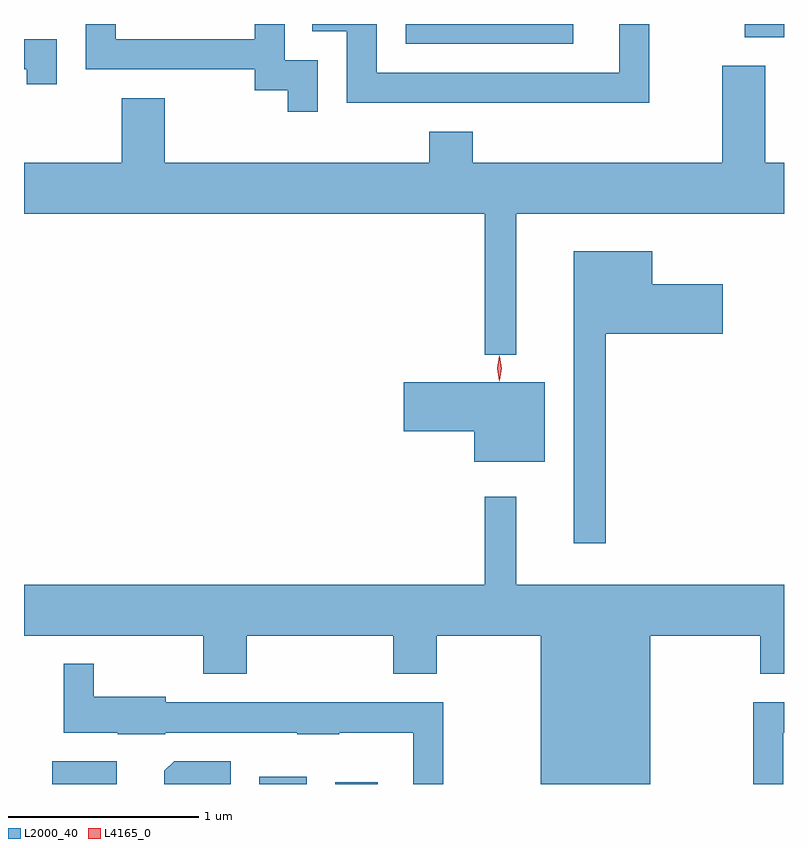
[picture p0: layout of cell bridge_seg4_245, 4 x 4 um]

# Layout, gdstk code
import gdstk
lib = gdstk.Library(unit=1e-6, precision=1e-09)
def R(c, l, rs):  # rectangles x0, y0, x1, y1
    for r in rs: c.add(gdstk.rectangle(r[:2], r[2:], *l))
def P(c, l, *ps):  # polygons
    for p in ps: c.add(gdstk.Polygon(p, *l))
L2000_40 = (2000, 40)
L4165_0 = (4165, 0)

bridge_seg4_245 = lib.new_cell('bridge_seg4_245')
R(bridge_seg4_245, L2000_40, [(740.326,1378.315,740.664,1378.434), (741.416,1378.315,741.664,1378.354), (741.816,1378.315,742.039,1378.324), (742.186,1382.211,743.068,1382.315), (743.971,1382.246,744.177,1382.315)])
P(bridge_seg4_245, L2000_40, [(741.724,1382.124),(741.549,1382.124),(741.549,1382.315),(741.391,1382.315),(741.391,1382.234),(740.659,1382.234),(740.659,1382.315),(740.501,1382.315),(740.501,1382.076),(741.391,1382.076),(741.391,1381.966),(741.566,1381.966),(741.566,1381.853),(741.724,1381.853)],
  [(743.469,1382.315),(743.311,1382.315),(743.311,1382.059),(742.034,1382.059),(742.034,1382.315),(741.693,1382.315),(741.693,1382.276),(741.876,1382.276),(741.876,1381.901),(743.469,1381.901)],
  [(740.349,1382.234),(740.177,1382.234),(740.177,1382.076),(740.191,1382.076),(740.191,1381.998),(740.349,1381.998)],
  [(742.769,1381.316),(744.177,1381.316),(744.177,1381.584),(744.079,1381.584),(744.079,1382.094),(743.851,1382.094),(743.851,1381.584),(742.539,1381.584),(742.539,1381.749),(742.311,1381.749),(742.311,1381.584),(740.919,1381.584),(740.919,1381.924),(740.691,1381.924),(740.691,1381.584),(740.177,1381.584),(740.177,1381.316),(742.601,1381.316),(742.601,1380.573),(742.769,1380.573)],
  [(743.239,1380.686),(743.854,1380.686),(743.854,1380.944),(743.484,1380.944),(743.484,1381.119),(743.071,1381.119),(743.071,1379.583),(743.239,1379.583)],
  [(742.919,1380.429),(742.176,1380.429),(742.176,1380.171),(742.546,1380.171),(742.546,1380.011),(742.919,1380.011)],
  [(743.474,1379.096),(744.051,1379.096),(744.051,1378.896),(744.177,1378.896),(744.177,1379.364),(742.769,1379.364),(742.769,1379.828),(742.601,1379.828),(742.601,1379.364),(740.177,1379.364),(740.177,1379.096),(741.121,1379.096),(741.121,1378.896),(741.349,1378.896),(741.349,1379.096),(742.121,1379.096),(742.121,1378.896),(742.349,1378.896),(742.349,1379.096),(742.896,1379.096),(742.896,1378.315),(743.474,1378.315)],
  [(742.384,1378.744),(740.924,1378.744),(740.924,1378.774),(740.544,1378.774),(740.544,1378.948),(740.386,1378.948),(740.386,1378.586),(740.67,1378.586),(740.67,1378.576),(740.92,1378.576),(740.92,1378.586),(741.615,1378.586),(741.615,1378.576),(741.835,1378.576),(741.835,1378.586),(742.226,1378.586),(742.226,1378.315),(742.384,1378.315)],
  [(744.174,1378.586),(744.177,1378.586),(744.177,1378.744),(744.016,1378.744),(744.016,1378.315),(744.174,1378.315)],
  [(741.264,1378.434),(740.967,1378.434),(740.916,1378.384),(740.916,1378.315),(741.264,1378.315)])
P(bridge_seg4_245, L4165_0, [(742.678,1380.434),(742.678,1380.434),(742.669,1380.502),(742.678,1380.57),(742.679,1380.57),(742.679,1380.57),(742.689,1380.502),(742.679,1380.434)],
  [(742.682,1380.44),(742.682,1380.44),(742.672,1380.503),(742.682,1380.566),(742.682,1380.567),(742.682,1380.566),(742.692,1380.503),(742.682,1380.44)])

lib.write_gds('bridge_seg4_245.gds')
